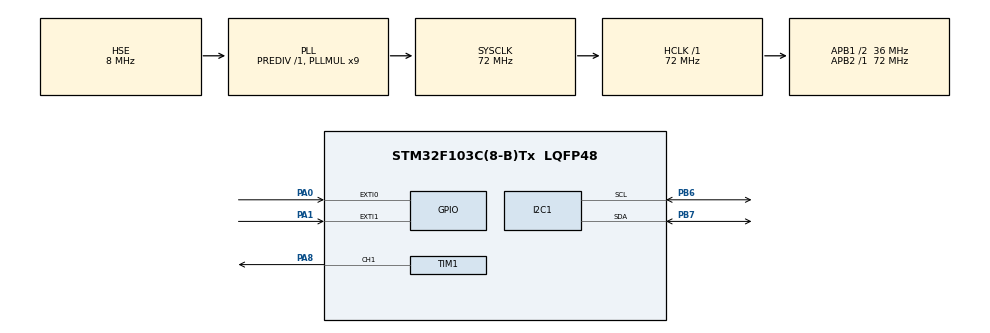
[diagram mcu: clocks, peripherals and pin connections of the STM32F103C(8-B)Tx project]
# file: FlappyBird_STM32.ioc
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FREERTOS.Tasks01=defaultTask,0,128,StartDefaultTask,Default,NULL,Dynamic,NULL,NULL
I2C1.I2C_Mode=I2C_Fast
Mcu.Family=STM32F1
Mcu.Name=STM32F103C(8-B)Tx
Mcu.Package=LQFP48
NVIC.EXTI0_IRQn=true\:5\:0\:false\:false\:true\:true\:true\:true\:true
NVIC.EXTI1_IRQn=true\:5\:0\:false\:false\:true\:true\:true\:true\:true
NVIC.PriorityGroup=NVIC_PRIORITYGROUP_4
NVIC.TIM2_IRQn=true\:5\:0\:false\:false\:true\:true\:true\:true\:true
NVIC.TIM4_IRQn=true\:15\:0\:false\:false\:true\:false\:false\:true\:true
NVIC.TimeBase=TIM4_IRQn
NVIC.TimeBaseIP=TIM4
PA0-WKUP.GPIO_PuPd=GPIO_PULLUP
PA0-WKUP.GPIO_ModeDefaultEXTI=GPIO_MODE_IT_FALLING
PA0-WKUP.Signal=GPXTI0
PA1.GPIO_PuPd=GPIO_PULLUP
PA1.GPIO_ModeDefaultEXTI=GPIO_MODE_IT_FALLING
PA1.Signal=GPXTI1
PA13.Mode=Serial_Wire
PA13.Signal=SYS_JTMS-SWDIO
PA14.Mode=Serial_Wire
PA14.Signal=SYS_JTCK-SWCLK
PA8.Signal=S_TIM1_CH1
PB6.Mode=I2C
PB6.Signal=I2C1_SCL
PB7.Mode=I2C
PB7.Signal=I2C1_SDA
PD0-OSC_IN.Mode=HSE-External-Oscillator
PD0-OSC_IN.Signal=RCC_OSC_IN
PD1-OSC_OUT.Mode=HSE-External-Oscillator
PD1-OSC_OUT.Signal=RCC_OSC_OUT
ProjectManager.HeapSize=0x200
ProjectManager.StackSize=0x400
ProjectManager.TargetToolchain=Makefile
RCC.AHBFreq_Value=72000000
RCC.APB1CLKDivider=RCC_HCLK_DIV2
RCC.APB1Freq_Value=36000000
RCC.APB1TimFreq_Value=72000000
RCC.APB2Freq_Value=72000000
RCC.APB2TimFreq_Value=72000000
RCC.HCLKFreq_Value=72000000
RCC.PLLMUL=RCC_PLL_MUL9
RCC.PLLSourceVirtual=RCC_PLLSOURCE_HSE
RCC.SYSCLKFreq_VALUE=72000000
RCC.SYSCLKSource=RCC_SYSCLKSOURCE_PLLCLK
RCC.USBFreq_Value=72000000
SH.S_TIM1_CH1.0=TIM1_CH1,PWM Generation1 CH1
TIM1.Channel-PWM\ Generation1\ CH1=TIM_CHANNEL_1
VP_FREERTOS_VS_CMSIS_V1.Mode=CMSIS_V1
VP_SYS_VS_tim4.Mode=TIM4
VP_TIM2_VS_ClockSourceINT.Mode=Internal
board=custom

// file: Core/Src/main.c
/* USER CODE BEGIN Header */
/**
  ******************************************************************************
  * @file           : main.c
  * @brief          : Main program body
  ******************************************************************************
  * @attention
  *
  * Copyright (c) 2026 STMicroelectronics.
  * All rights reserved.
  *
  * This software is licensed under terms that can be found in the LICENSE file
  * in the root directory of this software component.
  * If no LICENSE file comes with this software, it is provided AS-IS.
  *
  ******************************************************************************
  */
/* USER CODE END Header */
#include "main.h"
#include "cmsis_os.h"
#include "i2c.h"
#include "tim.h"
#include "gpio.h"

/* USER CODE BEGIN Includes */
#include "hal_button_buzzer.h"
#include "hal_oled.h"
#include "game_logic.h"
#include "FreeRTOS.h"
#include "task.h"
#include "timers.h"
#include "queue.h"
#include "semphr.h"
#include "event_groups.h"
/* USER CODE END Includes */

void SystemClock_Config(void);
void MX_FREERTOS_Init(void);

/* USER CODE BEGIN 0 */
static Bird bird;
static Pipe pipe;
static uint8_t state = 0; /* 0=ready, 1=playing, 2=paused, 3=over */
static uint16_t score = 0, best = 0;
static uint8_t scored = 0;
static uint32_t rng = 0x13579BDFu;

/*
 * PA0 (flap) and PA1 (pause/resume) are active-low with GPIO pull-ups.
 * A press is reported once, only after the signal is stable.
 * The button must be released stably before another press can be reported.
 * Longer release filtering avoids accidental double-presses from contact bounce.
 * Polling is done once per game frame (~33 ms).
 */
#define BUTTON_PRESS_DEBOUNCE_MS     25u
#define BUTTON_RELEASE_DEBOUNCE_MS   70u
#define BUTTON_EVENT_LOCKOUT_MS     130u

typedef struct {
  uint8_t last_raw;       /* last observed GPIO level: 1=released */
  uint8_t stable;         /* filtered level */
  uint8_t armed;          /* a new press can be accepted */
  uint8_t had_event;      /* allow first press without startup lockout */
  uint32_t changed_at;   /* time of last raw level change */
  uint32_t last_event_at; /* time of last accepted press */
} ButtonDebounce;

static ButtonDebounce buttons[2] = {
  {1u, 1u, 1u, 0u, 0u, 0u},
  {1u, 1u, 1u, 0u, 0u, 0u}
};

static uint8_t button_event(uint16_t pin, uint8_t index)
{
  ButtonDebounce *b = &buttons[index];
  const uint8_t raw = (HAL_GPIO_ReadPin(GPIOA, pin) == GPIO_PIN_SET) ? 1u : 0u;
  const uint32_t now = HAL_GetTick();

  if (raw != b->last_raw) {
    b->last_raw = raw;
    b->changed_at = now;
  }

  const uint32_t debounce_ms = raw ? BUTTON_RELEASE_DEBOUNCE_MS
                                   : BUTTON_PRESS_DEBOUNCE_MS;
  if ((raw != b->stable) && ((uint32_t)(now - b->changed_at) >= debounce_ms)) {
    b->stable = raw;

    if (raw == 0u) { /* stable press */
      if (b->armed != 0u &&
          (b->had_event == 0u ||
           (uint32_t)(now - b->last_event_at) >= BUTTON_EVENT_LOCKOUT_MS)) {
        b->armed = 0u;
        b->had_event = 1u;
        b->last_event_at = now;
        return 1u;
      }
      b->armed = 0u; /* even an ignored press must be released before retrigger */
    } else { /* stable release */
      b->armed = 1u;
    }
  }
  return 0u;
}

static void restart_game(void)
{
  Logic_Init(&bird, &pipe);
  score = 0; scored = 0;
  state = 1;
}
/* ---------------- OLED artwork (only uses existing HAL OLED API) ----------- */
/* Compact 5x7 typeface: digits, uppercase A-Z and space. Each byte is a column. */
static const uint8_t ui_digits[10][5] = {
  {0x3E,0x51,0x49,0x45,0x3E}, /* 0 */
  {0x00,0x42,0x7F,0x40,0x00}, /* 1 */
  {0x42,0x61,0x51,0x49,0x46}, /* 2 */
  {0x21,0x41,0x45,0x4B,0x31}, /* 3 */
  {0x18,0x14,0x12,0x7F,0x10}, /* 4 */
  {0x27,0x45,0x45,0x45,0x39}, /* 5 */
  {0x3C,0x4A,0x49,0x49,0x30}, /* 6 */
  {0x01,0x71,0x09,0x05,0x03}, /* 7 */
  {0x36,0x49,0x49,0x49,0x36}, /* 8 */
  {0x06,0x49,0x49,0x29,0x1E}  /* 9 */
};
static const uint8_t ui_letters[26][5] = {
  {0x7E,0x11,0x11,0x11,0x7E}, /* A */
  {0x7F,0x49,0x49,0x49,0x36}, /* B */
  {0x3E,0x41,0x41,0x41,0x22}, /* C */
  {0x7F,0x41,0x41,0x22,0x1C}, /* D */
  {0x7F,0x49,0x49,0x49,0x41}, /* E */
  {0x7F,0x09,0x09,0x09,0x01}, /* F */
  {0x3E,0x41,0x49,0x49,0x7A}, /* G */
  {0x7F,0x08,0x08,0x08,0x7F}, /* H */
  {0x00,0x41,0x7F,0x41,0x00}, /* I */
  {0x20,0x40,0x41,0x3F,0x01}, /* J */
  {0x7F,0x08,0x14,0x22,0x41}, /* K */
  {0x7F,0x40,0x40,0x40,0x40}, /* L */
  {0x7F,0x02,0x0C,0x02,0x7F}, /* M */
  {0x7F,0x04,0x08,0x10,0x7F}, /* N */
  {0x3E,0x41,0x41,0x41,0x3E}, /* O */
  {0x7F,0x09,0x09,0x09,0x06}, /* P */
  {0x3E,0x41,0x51,0x21,0x5E}, /* Q */
  {0x7F,0x09,0x19,0x29,0x46}, /* R */
  {0x46,0x49,0x49,0x49,0x31}, /* S */
  {0x01,0x01,0x7F,0x01,0x01}, /* T */
  {0x3F,0x40,0x40,0x40,0x3F}, /* U */
  {0x1F,0x20,0x40,0x20,0x1F}, /* V */
  {0x3F,0x40,0x38,0x40,0x3F}, /* W */
  {0x63,0x14,0x08,0x14,0x63}, /* X */
  {0x07,0x08,0x70,0x08,0x07}, /* Y */
  {0x61,0x51,0x49,0x45,0x43}  /* Z */
};

static void ui_character(int16_t x, int16_t y, char ch)
{
  const uint8_t *glyph = NULL;
  if (ch >= '0' && ch <= '9') glyph = ui_digits[ch - '0'];
  else if (ch >= 'A' && ch <= 'Z') glyph = ui_letters[ch - 'A'];
  if (glyph == NULL) return; /* space */
  for (uint8_t col = 0; col < 5; ++col) {
    for (uint8_t row = 0; row < 7; ++row) {
      if ((glyph[col] & (1u << row)) != 0u)
        OLED_DrawPixel(x + col, y + row, 1);
    }
  }
}

static void ui_text(int16_t x, int16_t y, const char *text)
{
  while (*text != '\0') {
    ui_character(x, y, *text++);
    x += 6;
  }
}

static void ui_number(int16_t x, int16_t y, uint16_t value)
{
  char digits[5];
  uint8_t length = 0;
  do {
    digits[length++] = (char)('0' + value % 10u);
    value /= 10u;
  } while (value != 0u && length < sizeof digits);
  while (length > 0u) {
    ui_character(x, y, digits[--length]);
    x += 6;
  }
}

static void ui_frame(int16_t x, int16_t y, int16_t w, int16_t h)
{
  OLED_FillRect(x, y, w, 1, 1);
  OLED_FillRect(x, y + h - 1, w, 1, 1);
  OLED_FillRect(x, y, 1, h, 1);
  OLED_FillRect(x + w - 1, y, 1, h, 1);
}

/* 10x8 silhouette with eye, wing and beak; y is the bird centre. */
static const uint16_t bird_art[8] = {
  0x078u, /* ...####... */
  0x1FCu, /* ..#######. */
  0x3FAu, /* .#####.#.. */
  0x3FFu, /* ########## */
  0x3C7u, /* ###...#### (wing detail) */
  0x1FCu, /* ..#######. */
  0x0F8u, /* ...#####.. */
  0x070u  /* ....###... */
};

static void ui_bird(int16_t x, int16_t y)
{
  for (uint8_t row = 0; row < 8; ++row) {
    for (uint8_t col = 0; col < 10; ++col) {
      if ((bird_art[row] & (1u << (9u - col))) != 0u)
        OLED_DrawPixel(x + col, y - 4 + row, 1);
    }
  }
}

static void ui_pipe(const Pipe *p)
{
  const int16_t top = p->gap_y - GAME_PIPE_HALF_GAP;
  const int16_t bottom = p->gap_y + GAME_PIPE_HALF_GAP;
  const int16_t x = p->x;
  const int16_t w = GAME_PIPE_WIDTH;

  /* Pipe shafts, with thin dark grooves to create a metallic look. */
  OLED_FillRect(x, 0, w, top, 1);
  OLED_FillRect(x, bottom, w, 63 - bottom, 1);
  if (top > 7) OLED_FillRect(x + 2, 2, 1, top - 7, 0);
  if (bottom < 57) OLED_FillRect(x + 2, bottom + 5, 1, 58 - bottom, 0);

  /* 4-pixel rim around each opening. Matches collision in game_logic.c. */
  OLED_FillRect(x - 2, top - 4, w + 4, 4, 1);
  OLED_FillRect(x - 2, bottom, w + 4, 4, 1);
  OLED_FillRect(x - 2, top - 3, w + 4, 1, 0);
  OLED_FillRect(x - 2, bottom + 2, w + 4, 1, 0);
}

static int16_t ui_length(const char *text)
{
  int16_t n = 0;
  while (text[n] != '\0') ++n;
  return n;
}

static void ui_overlay(const char *heading, const char *instruction)
{
  OLED_FillRect(24, 13, 80, 39, 0);
  ui_frame(24, 13, 80, 39);
  ui_text((128 - (int16_t)(6 * ui_length(heading) - 1)) / 2, 22, heading);
  ui_text((128 - (int16_t)(6 * ui_length(instruction) - 1)) / 2,
          38, instruction);
}

static void draw_game(void)
{
  OLED_Clear();

  /* A subtle dotted ground and two clouds behind the game objects. */
  OLED_FillRect(0, 62, 128, 1, 1);
  for (int16_t x = 0; x < 128; x += 9)
    OLED_FillRect(x, 63, 4, 1, 1);
  OLED_FillRect(78, 15, 13, 1, 1);
  OLED_FillRect(81, 13, 6, 1, 1);
  OLED_FillRect(110, 27, 11, 1, 1);
  OLED_FillRect(113, 25, 6, 1, 1);

  ui_pipe(&pipe);
  ui_bird(27, bird.y);

  /* Small high-contrast score display, even when a pipe moves behind it. */
  if (state == 1 || state == 2) {
    OLED_FillRect(0, 0, 74, 10, 0);
    ui_text(2, 1, "SCORE");
    ui_number(39, 1, score);
  }

  if (state == 0) {
    ui_overlay("FLAPPY BIRD", "PA0 START");
  } else if (state == 2) {
    ui_overlay("PAUSED", "PA1 RESUME");
  } else if (state == 3) {
    /* Cover playfield so both scores are readable on the OLED. */
    OLED_FillRect(11, 9, 106, 52, 0);
    ui_frame(11, 9, 106, 52);
    ui_text(37, 15, "GAME OVER");
    ui_text(28, 28, "SCORE");
    ui_number(73, 28, score);   /* Score of the just-finished run */
    ui_text(34, 40, "BEST");
    ui_number(73, 40, best);    /* Highest score since power-on */
    ui_text(37, 52, "PA0 RETRY");
  }

  OLED_Update();
}
void Task_Game(void *arg)
{
  (void)arg;
  TickType_t last = xTaskGetTickCount();
  Logic_Init(&bird, &pipe);
  OLED_Init();
  for (;;) {
    uint8_t jump = button_event(GPIO_PIN_0, 0);
    uint8_t pause = button_event(GPIO_PIN_1, 1);
    if (pause) {
      if (state == 1) state = 2;
      else if (state == 2) state = 1;
    }
    if (jump) {
      if (state == 0 || state == 3) { restart_game(); Logic_Flap(&bird); }
      else if (state == 1) Logic_Flap(&bird);
    }
    if (state == 1) {
      Logic_Update(&bird, &pipe, 0);
      if (!scored && pipe.x + GAME_PIPE_WIDTH + 2 < 27) {
        ++score; scored = 1;
        Buzzer_Set(1);
      } else Buzzer_Set(0);
      if (pipe.x <= -GAME_PIPE_WIDTH - 2) {
        rng = rng * 1664525u + 1013904223u;
        pipe.x = 128; pipe.gap_y = 24 + (int16_t)(rng % 16u);
        scored = 0;
      }
      if (Logic_CheckCollision(&bird, &pipe)) {
        state = 3;
        if (score > best) best = score;
        Buzzer_Set(2); /* Longer low-pitched game-over sound. */
      }
    } else Buzzer_Set(0);
    draw_game();
    vTaskDelayUntil(&last, pdMS_TO_TICKS(33));
  }
}
/* USER CODE END 0 */

int main(void)
{

  /* MCU Configuration--------------------------------------------------------*/

  /* Reset of all peripherals, Initializes the Flash interface and the Systick. */
  HAL_Init();

  /* Configure the system clock */
  SystemClock_Config();

  /* Initialize all configured peripherals */
  MX_GPIO_Init();
  MX_I2C1_Init();
  MX_TIM1_Init();
  MX_TIM2_Init();
  /* USER CODE BEGIN 2 */
  /* Game task owns both logic and OLED to prevent concurrent framebuffer access. */
  xTaskCreate(Task_Game, "Game", 384, NULL, 2, NULL);

  /* USER CODE END 2 */

  /* Call init function for freertos objects (in cmsis_os2.c) */
  MX_FREERTOS_Init();

  /* Start scheduler */
  osKernelStart();

  /* We should never get here as control is now taken by the scheduler */

  /* Infinite loop */
  while (1)
  {

  }
}

void SystemClock_Config(void)
{
  RCC_OscInitTypeDef RCC_OscInitStruct = {0};
  RCC_ClkInitTypeDef RCC_ClkInitStruct = {0};

  /** Initializes the RCC Oscillators according to the specified parameters
  * in the RCC_OscInitTypeDef structure.
  */
  RCC_OscInitStruct.OscillatorType = RCC_OSCILLATORTYPE_HSE;
  RCC_OscInitStruct.HSEState = RCC_HSE_ON;
  RCC_OscInitStruct.HSEPredivValue = RCC_HSE_PREDIV_DIV1;
  RCC_OscInitStruct.HSIState = RCC_HSI_ON;
  RCC_OscInitStruct.PLL.PLLState = RCC_PLL_ON;
  RCC_OscInitStruct.PLL.PLLSource = RCC_PLLSOURCE_HSE;
  RCC_OscInitStruct.PLL.PLLMUL = RCC_PLL_MUL9;
  if (HAL_RCC_OscConfig(&RCC_OscInitStruct) != HAL_OK)
  {
    Error_Handler();
  }

  /** Initializes the CPU, AHB and APB buses clocks
  */
  RCC_ClkInitStruct.ClockType = RCC_CLOCKTYPE_HCLK|RCC_CLOCKTYPE_SYSCLK
                              |RCC_CLOCKTYPE_PCLK1|RCC_CLOCKTYPE_PCLK2;
  RCC_ClkInitStruct.SYSCLKSource = RCC_SYSCLKSOURCE_PLLCLK;
  RCC_ClkInitStruct.AHBCLKDivider = RCC_SYSCLK_DIV1;
  RCC_ClkInitStruct.APB1CLKDivider = RCC_HCLK_DIV2;
  RCC_ClkInitStruct.APB2CLKDivider = RCC_HCLK_DIV1;

  if (HAL_RCC_ClockConfig(&RCC_ClkInitStruct, FLASH_LATENCY_2) != HAL_OK)
  {
    Error_Handler();
  }
}

void HAL_TIM_PeriodElapsedCallback(TIM_HandleTypeDef *htim)
{
  if (htim->Instance == TIM4)
  {
    HAL_IncTick();
  }
}

void Error_Handler(void)
{
  __disable_irq();
  while (1)
  {
  }
}
